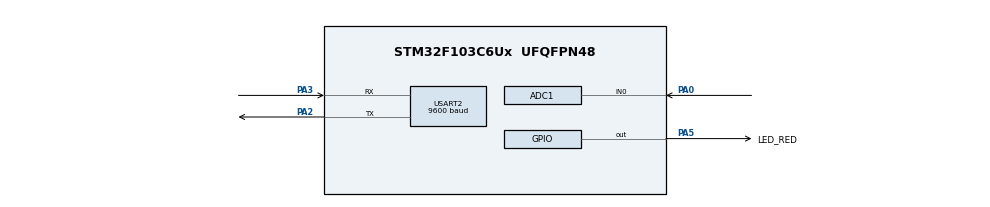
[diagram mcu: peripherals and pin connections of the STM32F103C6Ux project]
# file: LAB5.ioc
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ADC1.Channel-0\#ChannelRegularConversion=ADC_CHANNEL_0
ADC1.ContinuousConvMode=ENABLE
ADC1.NbrOfConversionFlag=1
ADC1.Rank-0\#ChannelRegularConversion=1
ADC1.SamplingTime-0\#ChannelRegularConversion=ADC_SAMPLETIME_1CYCLE_5
ADC1.master=1
Mcu.Family=STM32F1
Mcu.Name=STM32F103C6Ux
Mcu.Package=UFQFPN48
NVIC.PriorityGroup=NVIC_PRIORITYGROUP_4
NVIC.TIM2_IRQn=true\:0\:0\:false\:false\:true\:true\:true
NVIC.USART2_IRQn=true\:0\:0\:false\:false\:true\:true\:true
PA0-WKUP.Signal=ADCx_IN0
PA2.Mode=Asynchronous
PA2.Signal=USART2_TX
PA3.Mode=Asynchronous
PA3.Signal=USART2_RX
PA5.GPIO_Label=LED_RED
PA5.Signal=GPIO_Output
ProjectManager.HeapSize=0x200
ProjectManager.StackSize=0x400
ProjectManager.TargetToolchain=STM32CubeIDE
RCC.APB1Freq_Value=8000000
RCC.APB2Freq_Value=8000000
SH.ADCx_IN0.0=ADC1_IN0,IN0
TIM2.Period=9
TIM2.Prescaler=7999
USART2.BaudRate=9600
USART2.VirtualMode=VM_ASYNC
VP_SYS_VS_ND.Mode=No_Debug
VP_TIM2_VS_ClockSourceINT.Mode=Internal
board=custom

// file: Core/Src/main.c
/* USER CODE BEGIN Header */
/**
  ******************************************************************************
  * @file           : main.c
  * @brief          : Main program body
  ******************************************************************************
  * @attention
  *
  * <h2><center>&copy; Copyright (c) 2023 STMicroelectronics.
  * All rights reserved.</center></h2>
  *
  * This software component is licensed by ST under BSD 3-Clause license,
  * the "License"; You may not use this file except in compliance with the
  * License. You may obtain a copy of the License at:
  *                        opensource.org/licenses/BSD-3-Clause
  *
  ******************************************************************************
  */
/* USER CODE END Header */
#include "main.h"

/* USER CODE BEGIN Includes */
#include "software_timer.h"
#include "buffer_receive.h"
#include "stdio.h"
#include "cmd_parser.h"
#include "uart_com.h"
/* USER CODE END Includes */

ADC_HandleTypeDef hadc1;

TIM_HandleTypeDef htim2;

UART_HandleTypeDef huart2;

void SystemClock_Config(void);
static void MX_GPIO_Init(void);
static void MX_ADC1_Init(void);
static void MX_TIM2_Init(void);
static void MX_USART2_UART_Init(void);

/* USER CODE BEGIN 0 */
void HAL_UART_RxCpltCallback ( UART_HandleTypeDef * huart ){
	if(huart -> Instance == USART2 ){
		//HAL_UART_Transmit (& huart2 , &temp , 1, 50);
		//while(buffer_flag != 0 ){};
		buffer [ index_buffer ] = temp ;
		index_buffer++;
		if( index_buffer >= MAX_BUFFER_SIZE) index_buffer = 0;
		buffer_flag = 1;
		HAL_UART_Receive_IT (& huart2 , &temp , 1);
		}
}
uint32_t ADC_value = 0;
char str[20];
void get_ADC_value(){
	HAL_ADC_Start(&hadc1);
	ADC_value = HAL_ADC_GetValue (& hadc1 );
}
void transmit_ADC_value(){
	HAL_UART_Transmit (& huart2 , ( void *) str , sprintf (str , "!ADC=%ld#\n", ADC_value ), 50) ;
}
/* USER CODE END 0 */

int main(void)
{

  /* MCU Configuration--------------------------------------------------------*/

  /* Reset of all peripherals, Initializes the Flash interface and the Systick. */
  HAL_Init();

  /* Configure the system clock */
  SystemClock_Config();

  /* Initialize all configured peripherals */
  MX_GPIO_Init();
  MX_ADC1_Init();
  MX_TIM2_Init();
  MX_USART2_UART_Init();
  /* USER CODE BEGIN 2 */
  HAL_TIM_Base_Start_IT (& htim2 );
  HAL_UART_Receive_IT (& huart2 , &temp , 1);
  /* USER CODE END 2 */

  /* Infinite loop */
  /* USER CODE BEGIN WHILE */
  while (1)
  {
	  if( buffer_flag == 1){
		  command_parser_fsm ();
		  buffer_flag = 0;
	  }
	  uart_communiation_fsm ();
    /* USER CODE END WHILE */

  }
}

void SystemClock_Config(void)
{
  RCC_OscInitTypeDef RCC_OscInitStruct = {0};
  RCC_ClkInitTypeDef RCC_ClkInitStruct = {0};
  RCC_PeriphCLKInitTypeDef PeriphClkInit = {0};

  /** Initializes the RCC Oscillators according to the specified parameters
  * in the RCC_OscInitTypeDef structure.
  */
  RCC_OscInitStruct.OscillatorType = RCC_OSCILLATORTYPE_HSI;
  RCC_OscInitStruct.HSIState = RCC_HSI_ON;
  RCC_OscInitStruct.HSICalibrationValue = RCC_HSICALIBRATION_DEFAULT;
  RCC_OscInitStruct.PLL.PLLState = RCC_PLL_NONE;
  if (HAL_RCC_OscConfig(&RCC_OscInitStruct) != HAL_OK)
  {
    Error_Handler();
  }
  /** Initializes the CPU, AHB and APB buses clocks
  */
  RCC_ClkInitStruct.ClockType = RCC_CLOCKTYPE_HCLK|RCC_CLOCKTYPE_SYSCLK
                              |RCC_CLOCKTYPE_PCLK1|RCC_CLOCKTYPE_PCLK2;
  RCC_ClkInitStruct.SYSCLKSource = RCC_SYSCLKSOURCE_HSI;
  RCC_ClkInitStruct.AHBCLKDivider = RCC_SYSCLK_DIV1;
  RCC_ClkInitStruct.APB1CLKDivider = RCC_HCLK_DIV1;
  RCC_ClkInitStruct.APB2CLKDivider = RCC_HCLK_DIV1;

  if (HAL_RCC_ClockConfig(&RCC_ClkInitStruct, FLASH_LATENCY_0) != HAL_OK)
  {
    Error_Handler();
  }
  PeriphClkInit.PeriphClockSelection = RCC_PERIPHCLK_ADC;
  PeriphClkInit.AdcClockSelection = RCC_ADCPCLK2_DIV2;
  if (HAL_RCCEx_PeriphCLKConfig(&PeriphClkInit) != HAL_OK)
  {
    Error_Handler();
  }
}

static void MX_ADC1_Init(void)
{

  ADC_ChannelConfTypeDef sConfig = {0};

  /** Common config
  */
  hadc1.Instance = ADC1;
  hadc1.Init.ScanConvMode = ADC_SCAN_DISABLE;
  hadc1.Init.ContinuousConvMode = ENABLE;
  hadc1.Init.DiscontinuousConvMode = DISABLE;
  hadc1.Init.ExternalTrigConv = ADC_SOFTWARE_START;
  hadc1.Init.DataAlign = ADC_DATAALIGN_RIGHT;
  hadc1.Init.NbrOfConversion = 1;
  if (HAL_ADC_Init(&hadc1) != HAL_OK)
  {
    Error_Handler();
  }
  /** Configure Regular Channel
  */
  sConfig.Channel = ADC_CHANNEL_0;
  sConfig.Rank = ADC_REGULAR_RANK_1;
  sConfig.SamplingTime = ADC_SAMPLETIME_1CYCLE_5;
  if (HAL_ADC_ConfigChannel(&hadc1, &sConfig) != HAL_OK)
  {
    Error_Handler();
  }

}

static void MX_TIM2_Init(void)
{

  TIM_ClockConfigTypeDef sClockSourceConfig = {0};
  TIM_MasterConfigTypeDef sMasterConfig = {0};

  htim2.Instance = TIM2;
  htim2.Init.Prescaler = 7999;
  htim2.Init.CounterMode = TIM_COUNTERMODE_UP;
  htim2.Init.Period = 9;
  htim2.Init.ClockDivision = TIM_CLOCKDIVISION_DIV1;
  htim2.Init.AutoReloadPreload = TIM_AUTORELOAD_PRELOAD_DISABLE;
  if (HAL_TIM_Base_Init(&htim2) != HAL_OK)
  {
    Error_Handler();
  }
  sClockSourceConfig.ClockSource = TIM_CLOCKSOURCE_INTERNAL;
  if (HAL_TIM_ConfigClockSource(&htim2, &sClockSourceConfig) != HAL_OK)
  {
    Error_Handler();
  }
  sMasterConfig.MasterOutputTrigger = TIM_TRGO_RESET;
  sMasterConfig.MasterSlaveMode = TIM_MASTERSLAVEMODE_DISABLE;
  if (HAL_TIMEx_MasterConfigSynchronization(&htim2, &sMasterConfig) != HAL_OK)
  {
    Error_Handler();
  }

}

static void MX_USART2_UART_Init(void)
{

  huart2.Instance = USART2;
  huart2.Init.BaudRate = 9600;
  huart2.Init.WordLength = UART_WORDLENGTH_8B;
  huart2.Init.StopBits = UART_STOPBITS_1;
  huart2.Init.Parity = UART_PARITY_NONE;
  huart2.Init.Mode = UART_MODE_TX_RX;
  huart2.Init.HwFlowCtl = UART_HWCONTROL_NONE;
  huart2.Init.OverSampling = UART_OVERSAMPLING_16;
  if (HAL_UART_Init(&huart2) != HAL_OK)
  {
    Error_Handler();
  }

}

static void MX_GPIO_Init(void)
{
  GPIO_InitTypeDef GPIO_InitStruct = {0};

  /* GPIO Ports Clock Enable */
  __HAL_RCC_GPIOA_CLK_ENABLE();

  /*Configure GPIO pin Output Level */
  HAL_GPIO_WritePin(LED_RED_GPIO_Port, LED_RED_Pin, GPIO_PIN_RESET);

  /*Configure GPIO pin : LED_RED_Pin */
  GPIO_InitStruct.Pin = LED_RED_Pin;
  GPIO_InitStruct.Mode = GPIO_MODE_OUTPUT_PP;
  GPIO_InitStruct.Pull = GPIO_NOPULL;
  GPIO_InitStruct.Speed = GPIO_SPEED_FREQ_LOW;
  HAL_GPIO_Init(LED_RED_GPIO_Port, &GPIO_InitStruct);

}

/* USER CODE BEGIN 4 */
void HAL_TIM_PeriodElapsedCallback ( TIM_HandleTypeDef * htim ){
	timerRun();
}
/* USER CODE END 4 */

void Error_Handler(void)
{
  __disable_irq();
  while (1)
  {
  }
}

/************************ (C) COPYRIGHT STMicroelectronics *****END OF FILE****/
